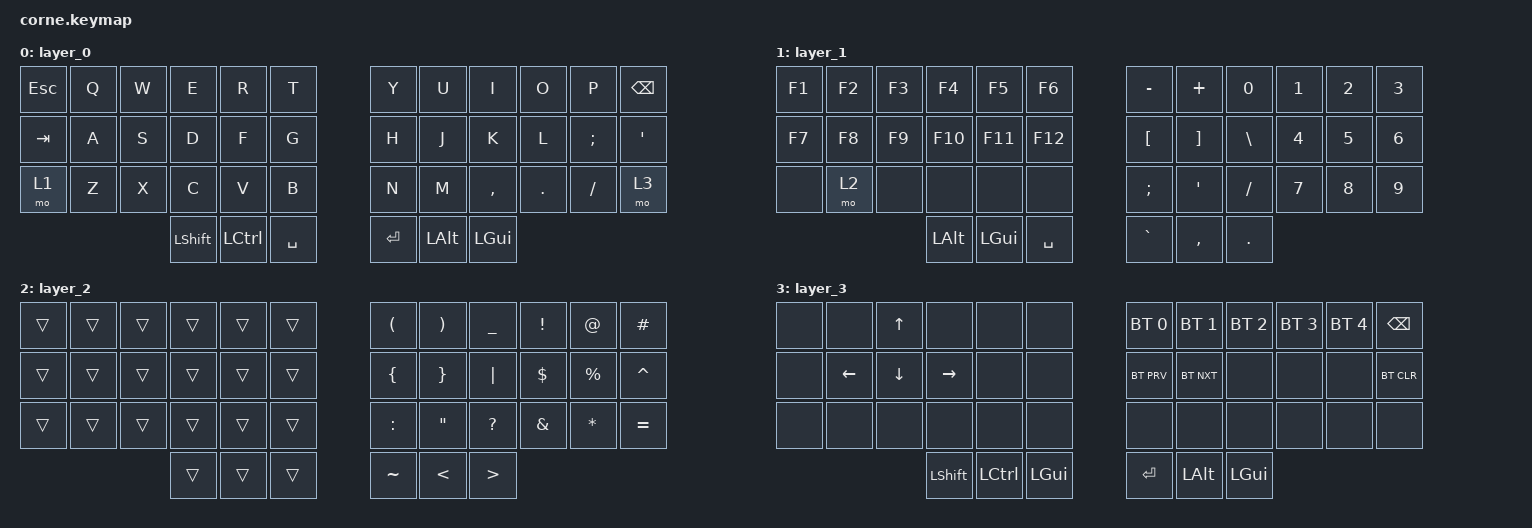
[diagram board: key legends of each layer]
#include <behaviors.dtsi>
#include <dt-bindings/zmk/bt.h>
#include <dt-bindings/zmk/keys.h>

/ {
    combos { compatible = "zmk,combos"; };

    keymap {
        compatible = "zmk,keymap";

        layer_0 {
            bindings = <
&kp ESC  &kp Q  &kp W  &kp E      &kp R      &kp T        &kp Y      &kp U     &kp I      &kp O    &kp P     &kp BSPC
&kp TAB  &kp A  &kp S  &kp D      &kp F      &kp G        &kp H        &kp J     &kp K      &kp L    &kp SEMI  &kp APOS
&mo 1    &kp Z  &kp X  &kp C      &kp V      &kp B        &kp N        &kp M     &kp COMMA  &kp DOT  &kp FSLH  &mo 3
                       &kp LSHFT  &kp LCTRL  &kp SPACE    &kp ENTER    &kp LALT  &kp LGUI
            >;
        };

        layer_1 {
            bindings = <
&kp F1  &kp F2  &kp F3  &kp F4     &kp F5   &kp F6       &kp MINUS  &kp PLUS   &kp N0    &kp N1  &kp N2  &kp N3
&kp F7  &kp F8  &kp F9  &kp F10    &kp F11  &kp F12      &kp LBKT   &kp RBKT   &kp BSLH  &kp N4  &kp N5  &kp N6
&none   &mo 2   &none   &none      &none    &none        &kp SEMI   &kp APOS   &kp FSLH  &kp N7  &kp N8  &kp N9
                        &kp LALT   &kp LGUI &kp SPACE    &kp GRAVE  &kp COMMA  &kp DOT
            >;
        };

        layer_2 {
            bindings = <
&trans  &trans  &trans  &trans  &trans  &trans       &kp LPAR   &kp RPAR       &kp UNDER         &kp EXCL  &kp AT     &kp HASH
&trans  &trans  &trans  &trans  &trans  &trans       &kp LBRC   &kp RBRC       &kp PIPE          &kp DLLR  &kp PRCNT  &kp CARET
&trans  &trans  &trans  &trans  &trans  &trans       &kp COLON  &kp DQT        &kp QMARK         &kp AMPS  &kp STAR   &kp EQUAL
                        &trans  &trans  &trans       &kp TILDE  &kp LESS_THAN  &kp GREATER_THAN
            >;
        };

        layer_3 {
            bindings = <
&none  &none           &kp UP_ARROW    &none            &none  &none        &bt BT_SEL 0  &bt BT_SEL 1  &bt BT_SEL 2  &bt BT_SEL 3  &bt BT_SEL 4  &kp BACKSPACE
&none  &kp LEFT_ARROW  &kp DOWN_ARROW  &kp RIGHT_ARROW  &none  &none        &bt BT_PRV    &bt BT_NXT    &none         &none         &none         &bt BT_CLR
&none  &none           &none           &none            &none  &none        &none         &none         &none         &none         &none         &none
                                       &kp LEFT_SHIFT   &kp LEFT_CONTROL  &kp LEFT_GUI    &kp ENTER     &kp LEFT_ALT  &kp LEFT_GUI
            >;
        };
    };
};
